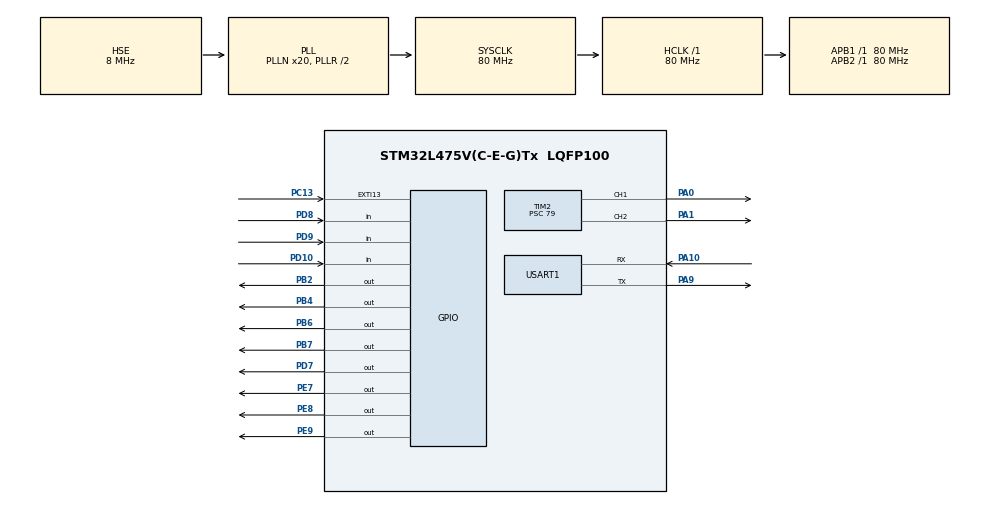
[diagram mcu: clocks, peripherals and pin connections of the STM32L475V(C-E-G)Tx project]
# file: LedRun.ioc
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Mcu.Family=STM32L4
Mcu.Name=STM32L475V(C-E-G)Tx
Mcu.Package=LQFP100
NVIC.EXTI15_10_IRQn=true\:2\:3\:true\:false\:true\:true
NVIC.PriorityGroup=NVIC_PRIORITYGROUP_2
NVIC.TIM3_IRQn=true\:1\:3\:true\:false\:true\:true
NVIC.USART1_IRQn=true\:3\:3\:true\:false\:true\:true
PA0.Signal=S_TIM2_CH1
PA1.Signal=S_TIM2_CH2
PA10.Mode=Asynchronous
PA10.Signal=USART1_RX
PA9.Mode=Asynchronous
PA9.Signal=USART1_TX
PB2.GPIO_ModeDefaultOutputPP=GPIO_MODE_OUTPUT_PP
PB2.GPIO_PuPd=GPIO_NOPULL
PB2.GPIO_Speed=GPIO_SPEED_FREQ_HIGH
PB2.PinState=GPIO_PIN_RESET
PB2.Signal=GPIO_Output
PB3\ (JTDO-TRACESWO).Signal=SPI3_SCK
PB4\ (NJTRST).Signal=GPIO_Output
PB5.Signal=SPI3_MOSI
PB6.Signal=GPIO_Output
PB7.Signal=GPIO_Output
PC13.GPIO_ModeDefaultEXTI=GPIO_MODE_IT_RISING
PC13.GPIO_PuPd=GPIO_PULLDOWN
PC13.Signal=GPXTI13
PD10.GPIO_PuPd=GPIO_PULLUP
PD10.Signal=GPIO_Input
PD7.Signal=GPIO_Output
PD8.GPIO_PuPd=GPIO_PULLUP
PD8.Signal=GPIO_Input
PD9.GPIO_PuPd=GPIO_PULLUP
PD9.Signal=GPIO_Input
PE7.GPIO_ModeDefaultOutputPP=GPIO_MODE_OUTPUT_PP
PE7.GPIO_PuPd=GPIO_PULLUP
PE7.GPIO_Speed=GPIO_SPEED_FREQ_HIGH
PE7.PinState=GPIO_PIN_SET
PE7.Signal=GPIO_Output
PE8.GPIO_ModeDefaultOutputPP=GPIO_MODE_OUTPUT_PP
PE8.GPIO_PuPd=GPIO_PULLUP
PE8.GPIO_Speed=GPIO_SPEED_FREQ_HIGH
PE8.PinState=GPIO_PIN_SET
PE8.Signal=GPIO_Output
PE9.GPIO_ModeDefaultOutputPP=GPIO_MODE_OUTPUT_PP
PE9.GPIO_PuPd=GPIO_PULLUP
PE9.GPIO_Speed=GPIO_SPEED_FREQ_HIGH
PE9.PinState=GPIO_PIN_SET
PE9.Signal=GPIO_Output
PH0-OSC_IN\ (PH0).Mode=HSE-External-Oscillator
PH0-OSC_IN\ (PH0).Signal=RCC_OSC_IN
PH1-OSC_OUT\ (PH1).Mode=HSE-External-Oscillator
PH1-OSC_OUT\ (PH1).Signal=RCC_OSC_OUT
ProjectManager.HeapSize=0x200
ProjectManager.StackSize=0x400
ProjectManager.TargetToolchain=MDK-ARM V5
RCC.ADCFreq_Value=80000000
RCC.AHBFreq_Value=80000000
RCC.APB1Freq_Value=80000000
RCC.APB1TimFreq_Value=80000000
RCC.APB2Freq_Value=80000000
RCC.APB2TimFreq_Value=80000000
RCC.CortexFreq_Value=80000000
RCC.HCLKFreq_Value=80000000
RCC.HSI_VALUE=16000000
RCC.LSE_VALUE=32768
RCC.MSI_VALUE=4000000
RCC.PLLN=20
RCC.PLLSAI1N=20
RCC.PLLSAI2N=20
RCC.PLLSourceVirtual=RCC_PLLSOURCE_HSE
RCC.SYSCLKFreq_VALUE=80000000
RCC.SYSCLKSource=RCC_SYSCLKSOURCE_PLLCLK
RCC.USBFreq_Value=80000000
RCC.VCOOutputFreq_Value=160000000
SH.S_TIM2_CH1.0=TIM2_CH1,PWM Generation1 CH1
SH.S_TIM2_CH2.0=TIM2_CH2,PWM Generation2 CH2
TIM2.AutoReloadPreload=TIM_AUTORELOAD_PRELOAD_ENABLE
TIM2.Channel-PWM\ Generation1\ CH1=TIM_CHANNEL_1
TIM2.Channel-PWM\ Generation2\ CH2=TIM_CHANNEL_2
TIM2.Period=999
TIM2.Prescaler=79
TIM2.Pulse-PWM\ Generation1\ CH1=500
TIM2.Pulse-PWM\ Generation2\ CH2=500
TIM3.AutoReloadPreload=TIM_AUTORELOAD_PRELOAD_ENABLE
TIM3.ClockDivision=TIM_CLOCKDIVISION_DIV1
TIM3.Period=4999
TIM3.Prescaler=7999
TIM3.TIM_MasterOutputTrigger=TIM_TRGO_UPDATE
USART1.VirtualMode-Asynchronous=VM_ASYNC
USART1.WordLength=WORDLENGTH_8B
VP_IWDG_VS_IWDG.Mode=IWDG_Activate
VP_TIM2_VS_ClockSourceINT.Mode=Internal
VP_TIM3_VS_ClockSourceINT.Mode=Internal
board=LedRun

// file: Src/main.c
/**
  ******************************************************************************
  * @file           : main.c
  * @brief          : Main program body
  ******************************************************************************
  ** This notice applies to any and all portions of this file
  * that are not between comment pairs USER CODE BEGIN and
  * USER CODE END. Other portions of this file, whether
  * inserted by the user or by software development tools
  * are owned by their respective copyright owners.
  *
  * COPYRIGHT(c) 2019 STMicroelectronics
  *
  * Redistribution and use in source and binary forms, with or without modification,
  * are permitted provided that the following conditions are met:
  *   1. Redistributions of source code must retain the above copyright notice,
  *      this list of conditions and the following disclaimer.
  *   2. Redistributions in binary form must reproduce the above copyright notice,
  *      this list of conditions and the following disclaimer in the documentation
  *      and/or other materials provided with the distribution.
  *   3. Neither the name of STMicroelectronics nor the names of its contributors
  *      may be used to endorse or promote products derived from this software
  *      without specific prior written permission.
  *
  * THIS SOFTWARE IS PROVIDED BY THE COPYRIGHT HOLDERS AND CONTRIBUTORS "AS IS"
  * AND ANY EXPRESS OR IMPLIED WARRANTIES, INCLUDING, BUT NOT LIMITED TO, THE
  * IMPLIED WARRANTIES OF MERCHANTABILITY AND FITNESS FOR A PARTICULAR PURPOSE ARE
  * DISCLAIMED. IN NO EVENT SHALL THE COPYRIGHT HOLDER OR CONTRIBUTORS BE LIABLE
  * FOR ANY DIRECT, INDIRECT, INCIDENTAL, SPECIAL, EXEMPLARY, OR CONSEQUENTIAL
  * DAMAGES (INCLUDING, BUT NOT LIMITED TO, PROCUREMENT OF SUBSTITUTE GOODS OR
  * SERVICES; LOSS OF USE, DATA, OR PROFITS; OR BUSINESS INTERRUPTION) HOWEVER
  * CAUSED AND ON ANY THEORY OF LIABILITY, WHETHER IN CONTRACT, STRICT LIABILITY,
  * OR TORT (INCLUDING NEGLIGENCE OR OTHERWISE) ARISING IN ANY WAY OUT OF THE USE
  * OF THIS SOFTWARE, EVEN IF ADVISED OF THE POSSIBILITY OF SUCH DAMAGE.
  *
  ******************************************************************************
  */
#include "main.h"
#include "stm32l4xx_hal.h"

/* USER CODE BEGIN Includes */
#include "sys.h"
#include "delay.h"
#include "io.h"
#include "usart.h"
/* USER CODE END Includes */

IWDG_HandleTypeDef hiwdg;

TIM_HandleTypeDef htim2;
TIM_HandleTypeDef htim3;

UART_HandleTypeDef huart1;

/* USER CODE BEGIN PV */
/* Private variables ---------------------------------------------------------*/

/* USER CODE END PV */

void SystemClock_Config(void);
static void MX_GPIO_Init(void);
static void MX_USART1_UART_Init(void);
static void MX_TIM3_Init(void);
static void MX_IWDG_Init(void);
static void MX_TIM2_Init(void);

void HAL_TIM_MspPostInit(TIM_HandleTypeDef *htim);

/* USER CODE BEGIN PFP */
/* Private function prototypes -----------------------------------------------*/

/* USER CODE END PFP */

/* USER CODE BEGIN 0 */
//中断回调函数
void HAL_GPIO_EXTI_Callback(uint16_t GPIO_Pin)
{
	delay_ms(50);
	if(GPIO_Pin == GPIO_PIN_13)
	{
	   LED_R_TogglePin;
 //     HAL_IWDG_Refresh(&hiwdg);
//      if(hiwdgflag)hiwdgflag = 0;
//		else hiwdgflag =1;
	}
}
//TIM3定时回调函数
void HAL_TIM_PeriodElapsedCallback(TIM_HandleTypeDef *htim)
{
   if(htim->Instance == TIM3) LED_R_TogglePin;
    if(htim == (&htim3))
    {
        LED_B_TogglePin;        //LED_B翻转
    }
	//BEEP_TogglePin;
}
/* USER CODE END 0 */

int main(void)
{
  /* USER CODE BEGIN 1 */
 u8 time = 0;
    u8 speed = 1;				//速度控制		0:加速		1：减速
    u8 dir = 1;					//正反转标志	0:电机正转	1：电机反转
    u16 pwmval = 500;			//默认值
  /* USER CODE END 1 */

  /* MCU Configuration----------------------------------------------------------*/

  /* Reset of all peripherals, Initializes the Flash interface and the Systick. */
  HAL_Init();

  /* Configure the system clock */
  SystemClock_Config();

  /* Initialize all configured peripherals */
  MX_GPIO_Init();
  MX_USART1_UART_Init();
  MX_TIM3_Init();
  MX_IWDG_Init();
  MX_TIM2_Init();
  /* USER CODE BEGIN 2 */
  HAL_TIM_Base_Start_IT(&htim3);
	HAL_TIM_PWM_Start_IT(&htim2,TIM_CHANNEL_1);
	HAL_TIM_PWM_Start_IT(&htim2,TIM_CHANNEL_2);
  /* USER CODE END 2 */

  /* Infinite loop */
  while (1)
  {

  /* USER CODE BEGIN 3 */
		HAL_IWDG_Refresh(&hiwdg);

  }
  /* USER CODE END 3 */

}

void SystemClock_Config(void)
{

  RCC_OscInitTypeDef RCC_OscInitStruct;
  RCC_ClkInitTypeDef RCC_ClkInitStruct;
  RCC_PeriphCLKInitTypeDef PeriphClkInit;

    /**Initializes the CPU, AHB and APB busses clocks
    */
  RCC_OscInitStruct.OscillatorType = RCC_OSCILLATORTYPE_LSI|RCC_OSCILLATORTYPE_HSE;
  RCC_OscInitStruct.HSEState = RCC_HSE_ON;
  RCC_OscInitStruct.LSIState = RCC_LSI_ON;
  RCC_OscInitStruct.PLL.PLLState = RCC_PLL_ON;
  RCC_OscInitStruct.PLL.PLLSource = RCC_PLLSOURCE_HSE;
  RCC_OscInitStruct.PLL.PLLN = 20;
  RCC_OscInitStruct.PLL.PLLP = RCC_PLLP_DIV7;
  RCC_OscInitStruct.PLL.PLLQ = RCC_PLLQ_DIV2;
  RCC_OscInitStruct.PLL.PLLR = RCC_PLLR_DIV2;
  if (HAL_RCC_OscConfig(&RCC_OscInitStruct) != HAL_OK)
  {
    _Error_Handler(__FILE__, __LINE__);
  }

    /**Initializes the CPU, AHB and APB busses clocks
    */
  RCC_ClkInitStruct.ClockType = RCC_CLOCKTYPE_HCLK|RCC_CLOCKTYPE_SYSCLK
                              |RCC_CLOCKTYPE_PCLK1|RCC_CLOCKTYPE_PCLK2;
  RCC_ClkInitStruct.SYSCLKSource = RCC_SYSCLKSOURCE_PLLCLK;
  RCC_ClkInitStruct.AHBCLKDivider = RCC_SYSCLK_DIV1;
  RCC_ClkInitStruct.APB1CLKDivider = RCC_HCLK_DIV1;
  RCC_ClkInitStruct.APB2CLKDivider = RCC_HCLK_DIV1;

  if (HAL_RCC_ClockConfig(&RCC_ClkInitStruct, FLASH_LATENCY_4) != HAL_OK)
  {
    _Error_Handler(__FILE__, __LINE__);
  }

  PeriphClkInit.PeriphClockSelection = RCC_PERIPHCLK_USART1;
  PeriphClkInit.Usart1ClockSelection = RCC_USART1CLKSOURCE_PCLK2;
  if (HAL_RCCEx_PeriphCLKConfig(&PeriphClkInit) != HAL_OK)
  {
    _Error_Handler(__FILE__, __LINE__);
  }

    /**Configure the main internal regulator output voltage
    */
  if (HAL_PWREx_ControlVoltageScaling(PWR_REGULATOR_VOLTAGE_SCALE1) != HAL_OK)
  {
    _Error_Handler(__FILE__, __LINE__);
  }

    /**Configure the Systick interrupt time
    */
  HAL_SYSTICK_Config(HAL_RCC_GetHCLKFreq()/1000);

    /**Configure the Systick
    */
  HAL_SYSTICK_CLKSourceConfig(SYSTICK_CLKSOURCE_HCLK);

  /* SysTick_IRQn interrupt configuration */
  HAL_NVIC_SetPriority(SysTick_IRQn, 0, 0);
}

/* IWDG init function */
static void MX_IWDG_Init(void)
{

  hiwdg.Instance = IWDG;
  hiwdg.Init.Prescaler = IWDG_PRESCALER_4;
  hiwdg.Init.Window = 4095;
  hiwdg.Init.Reload = 4095;
  if (HAL_IWDG_Init(&hiwdg) != HAL_OK)
  {
    _Error_Handler(__FILE__, __LINE__);
  }

}

/* TIM2 init function */
static void MX_TIM2_Init(void)
{

  TIM_ClockConfigTypeDef sClockSourceConfig;
  TIM_MasterConfigTypeDef sMasterConfig;
  TIM_OC_InitTypeDef sConfigOC;

  htim2.Instance = TIM2;
  htim2.Init.Prescaler = 79;
  htim2.Init.CounterMode = TIM_COUNTERMODE_UP;
  htim2.Init.Period = 999;
  htim2.Init.ClockDivision = TIM_CLOCKDIVISION_DIV1;
  htim2.Init.AutoReloadPreload = TIM_AUTORELOAD_PRELOAD_ENABLE;
  if (HAL_TIM_Base_Init(&htim2) != HAL_OK)
  {
    _Error_Handler(__FILE__, __LINE__);
  }

  sClockSourceConfig.ClockSource = TIM_CLOCKSOURCE_INTERNAL;
  if (HAL_TIM_ConfigClockSource(&htim2, &sClockSourceConfig) != HAL_OK)
  {
    _Error_Handler(__FILE__, __LINE__);
  }

  if (HAL_TIM_PWM_Init(&htim2) != HAL_OK)
  {
    _Error_Handler(__FILE__, __LINE__);
  }

  sMasterConfig.MasterOutputTrigger = TIM_TRGO_RESET;
  sMasterConfig.MasterSlaveMode = TIM_MASTERSLAVEMODE_DISABLE;
  if (HAL_TIMEx_MasterConfigSynchronization(&htim2, &sMasterConfig) != HAL_OK)
  {
    _Error_Handler(__FILE__, __LINE__);
  }

  sConfigOC.OCMode = TIM_OCMODE_PWM1;
  sConfigOC.Pulse = 500;
  sConfigOC.OCPolarity = TIM_OCPOLARITY_HIGH;
  sConfigOC.OCFastMode = TIM_OCFAST_DISABLE;
  if (HAL_TIM_PWM_ConfigChannel(&htim2, &sConfigOC, TIM_CHANNEL_1) != HAL_OK)
  {
    _Error_Handler(__FILE__, __LINE__);
  }

  if (HAL_TIM_PWM_ConfigChannel(&htim2, &sConfigOC, TIM_CHANNEL_2) != HAL_OK)
  {
    _Error_Handler(__FILE__, __LINE__);
  }

  HAL_TIM_MspPostInit(&htim2);

}

/* TIM3 init function */
static void MX_TIM3_Init(void)
{

  TIM_ClockConfigTypeDef sClockSourceConfig;
  TIM_MasterConfigTypeDef sMasterConfig;

  htim3.Instance = TIM3;
  htim3.Init.Prescaler = 7999;
  htim3.Init.CounterMode = TIM_COUNTERMODE_UP;
  htim3.Init.Period = 4999;
  htim3.Init.ClockDivision = TIM_CLOCKDIVISION_DIV1;
  htim3.Init.AutoReloadPreload = TIM_AUTORELOAD_PRELOAD_ENABLE;
  if (HAL_TIM_Base_Init(&htim3) != HAL_OK)
  {
    _Error_Handler(__FILE__, __LINE__);
  }

  sClockSourceConfig.ClockSource = TIM_CLOCKSOURCE_INTERNAL;
  if (HAL_TIM_ConfigClockSource(&htim3, &sClockSourceConfig) != HAL_OK)
  {
    _Error_Handler(__FILE__, __LINE__);
  }

  sMasterConfig.MasterOutputTrigger = TIM_TRGO_UPDATE;
  sMasterConfig.MasterSlaveMode = TIM_MASTERSLAVEMODE_DISABLE;
  if (HAL_TIMEx_MasterConfigSynchronization(&htim3, &sMasterConfig) != HAL_OK)
  {
    _Error_Handler(__FILE__, __LINE__);
  }

}

/* USART1 init function */
static void MX_USART1_UART_Init(void)
{

  huart1.Instance = USART1;
  huart1.Init.BaudRate = 115200;
  huart1.Init.WordLength = UART_WORDLENGTH_8B;
  huart1.Init.StopBits = UART_STOPBITS_1;
  huart1.Init.Parity = UART_PARITY_NONE;
  huart1.Init.Mode = UART_MODE_TX_RX;
  huart1.Init.HwFlowCtl = UART_HWCONTROL_NONE;
  huart1.Init.OverSampling = UART_OVERSAMPLING_16;
  huart1.Init.OneBitSampling = UART_ONE_BIT_SAMPLE_DISABLE;
  huart1.AdvancedInit.AdvFeatureInit = UART_ADVFEATURE_NO_INIT;
  if (HAL_UART_Init(&huart1) != HAL_OK)
  {
    _Error_Handler(__FILE__, __LINE__);
  }

}

/** Configure pins as
        * Analog
        * Input
        * Output
        * EVENT_OUT
        * EXTI
     PB3 (JTDO-TRACESWO)   ------> SPI3_SCK
     PB5   ------> SPI3_MOSI
*/
static void MX_GPIO_Init(void)
{

  GPIO_InitTypeDef GPIO_InitStruct;

  /* GPIO Ports Clock Enable */
  __HAL_RCC_GPIOC_CLK_ENABLE();
  __HAL_RCC_GPIOH_CLK_ENABLE();
  __HAL_RCC_GPIOA_CLK_ENABLE();
  __HAL_RCC_GPIOB_CLK_ENABLE();
  __HAL_RCC_GPIOE_CLK_ENABLE();
  __HAL_RCC_GPIOD_CLK_ENABLE();

  /*Configure GPIO pin Output Level */
  HAL_GPIO_WritePin(GPIOB, GPIO_PIN_2|GPIO_PIN_4|GPIO_PIN_6|GPIO_PIN_7, GPIO_PIN_RESET);

  /*Configure GPIO pin Output Level */
  HAL_GPIO_WritePin(GPIOE, GPIO_PIN_7|GPIO_PIN_8|GPIO_PIN_9, GPIO_PIN_SET);

  /*Configure GPIO pin Output Level */
  HAL_GPIO_WritePin(GPIOD, GPIO_PIN_7, GPIO_PIN_RESET);

  /*Configure GPIO pin : PC13 */
  GPIO_InitStruct.Pin = GPIO_PIN_13;
  GPIO_InitStruct.Mode = GPIO_MODE_IT_RISING;
  GPIO_InitStruct.Pull = GPIO_PULLDOWN;
  HAL_GPIO_Init(GPIOC, &GPIO_InitStruct);

  /*Configure GPIO pin : PB2 */
  GPIO_InitStruct.Pin = GPIO_PIN_2;
  GPIO_InitStruct.Mode = GPIO_MODE_OUTPUT_PP;
  GPIO_InitStruct.Pull = GPIO_NOPULL;
  GPIO_InitStruct.Speed = GPIO_SPEED_FREQ_HIGH;
  HAL_GPIO_Init(GPIOB, &GPIO_InitStruct);

  /*Configure GPIO pins : PE7 PE8 PE9 */
  GPIO_InitStruct.Pin = GPIO_PIN_7|GPIO_PIN_8|GPIO_PIN_9;
  GPIO_InitStruct.Mode = GPIO_MODE_OUTPUT_PP;
  GPIO_InitStruct.Pull = GPIO_PULLUP;
  GPIO_InitStruct.Speed = GPIO_SPEED_FREQ_HIGH;
  HAL_GPIO_Init(GPIOE, &GPIO_InitStruct);

  /*Configure GPIO pins : PD8 PD9 PD10 */
  GPIO_InitStruct.Pin = GPIO_PIN_8|GPIO_PIN_9|GPIO_PIN_10;
  GPIO_InitStruct.Mode = GPIO_MODE_INPUT;
  GPIO_InitStruct.Pull = GPIO_PULLUP;
  HAL_GPIO_Init(GPIOD, &GPIO_InitStruct);

  /*Configure GPIO pin : PD7 */
  GPIO_InitStruct.Pin = GPIO_PIN_7;
  GPIO_InitStruct.Mode = GPIO_MODE_OUTPUT_PP;
  GPIO_InitStruct.Pull = GPIO_NOPULL;
  GPIO_InitStruct.Speed = GPIO_SPEED_FREQ_LOW;
  HAL_GPIO_Init(GPIOD, &GPIO_InitStruct);

  /*Configure GPIO pins : PB3 PB5 */
  GPIO_InitStruct.Pin = GPIO_PIN_3|GPIO_PIN_5;
  GPIO_InitStruct.Mode = GPIO_MODE_AF_PP;
  GPIO_InitStruct.Pull = GPIO_NOPULL;
  GPIO_InitStruct.Speed = GPIO_SPEED_FREQ_VERY_HIGH;
  GPIO_InitStruct.Alternate = GPIO_AF6_SPI3;
  HAL_GPIO_Init(GPIOB, &GPIO_InitStruct);

  /*Configure GPIO pins : PB4 PB6 PB7 */
  GPIO_InitStruct.Pin = GPIO_PIN_4|GPIO_PIN_6|GPIO_PIN_7;
  GPIO_InitStruct.Mode = GPIO_MODE_OUTPUT_PP;
  GPIO_InitStruct.Pull = GPIO_NOPULL;
  GPIO_InitStruct.Speed = GPIO_SPEED_FREQ_LOW;
  HAL_GPIO_Init(GPIOB, &GPIO_InitStruct);

  /* EXTI interrupt init*/
  HAL_NVIC_SetPriority(EXTI15_10_IRQn, 2, 3);
  HAL_NVIC_EnableIRQ(EXTI15_10_IRQn);

}

void _Error_Handler(char *file, int line)
{
  while(1)
  {
  }
}

/************************ (C) COPYRIGHT STMicroelectronics *****END OF FILE****/
